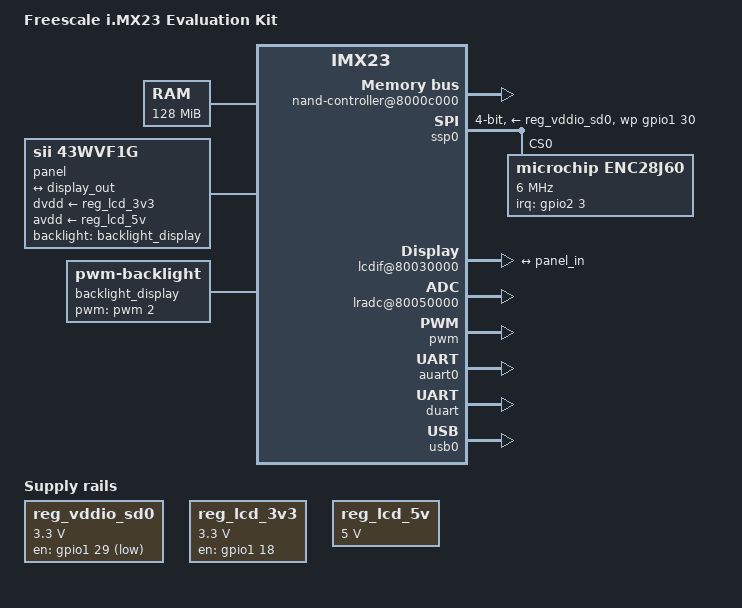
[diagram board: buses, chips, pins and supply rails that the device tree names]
// SPDX-License-Identifier: GPL-2.0+
//
// Copyright 2012 Freescale Semiconductor, Inc.

/dts-v1/;
#include <dt-bindings/interrupt-controller/irq.h>
#include "imx23.dtsi"

/ {
	model = "Freescale i.MX23 Evaluation Kit";
	compatible = "fsl,imx23-evk", "fsl,imx23";

	memory@40000000 {
		device_type = "memory";
		reg = <0x40000000 0x08000000>;
	};

	reg_vddio_sd0: regulator-vddio-sd0 {
		compatible = "regulator-fixed";
		regulator-name = "vddio-sd0";
		regulator-min-microvolt = <3300000>;
		regulator-max-microvolt = <3300000>;
		gpio = <&gpio1 29 0>;
	};

	reg_lcd_3v3: regulator-lcd-3v3 {
		compatible = "regulator-fixed";
		regulator-name = "lcd-3v3";
		regulator-min-microvolt = <3300000>;
		regulator-max-microvolt = <3300000>;
		gpio = <&gpio1 18 0>;
		enable-active-high;
	};

	reg_lcd_5v: regulator-lcd-5v {
		compatible = "regulator-fixed";
		regulator-name = "lcd-5v";
		regulator-min-microvolt = <5000000>;
		regulator-max-microvolt = <5000000>;
	};

	panel {
		compatible = "sii,43wvf1g";
		backlight = <&backlight_display>;
		dvdd-supply = <&reg_lcd_3v3>;
		avdd-supply = <&reg_lcd_5v>;

		port {
			panel_in: endpoint {
				remote-endpoint = <&display_out>;
			};
		};
	};

	apb@80000000 {
		apbh@80000000 {
			nand-controller@8000c000 {
				pinctrl-names = "default";
				pinctrl-0 = <&gpmi_pins_a &gpmi_pins_fixup>;
				status = "okay";
			};

			ssp0: spi@80010000 {
				compatible = "fsl,imx23-mmc";
				#address-cells = <1>;
				#size-cells = <0>;
				pinctrl-names = "default", "enc28j60";
				pinctrl-0 = <&mmc0_4bit_pins_a &mmc0_pins_fixup>;
				pinctrl-1 = <&enc28j60_spi_pins &enc28j60_irq_pins>;
				bus-width = <4>;
				wp-gpios = <&gpio1 30 0>;
				vmmc-supply = <&reg_vddio_sd0>;
				status = "okay";

				enc28j60: ethernet@0 {
					compatible = "microchip,enc28j60";
					reg = <0>;
					interrupt-parent = <&gpio2>;
					interrupts = <3 IRQ_TYPE_EDGE_FALLING>;
					spi-max-frequency = <6000000>;
					status = "okay";
				};
			};

			pinctrl@80018000 {
				pinctrl-names = "default";
				pinctrl-0 = <&hog_pins_a>;

				hog_pins_a: hog@0 {
					reg = <0>;
					fsl,pinmux-ids = <
						MX23_PAD_LCD_RESET__GPIO_1_18
						MX23_PAD_PWM3__GPIO_1_29
						MX23_PAD_PWM4__GPIO_1_30
					>;
					fsl,drive-strength = <MXS_DRIVE_4mA>;
					fsl,voltage = <MXS_VOLTAGE_HIGH>;
					fsl,pull-up = <MXS_PULL_DISABLE>;
				};

				enc28j60_spi_pins: enc28j60-spi@0 {
					reg = <0>;
					fsl,pinmux-ids = <
						MX23_PAD_SSP1_DATA0__SSP1_DATA0
						MX23_PAD_SSP1_DATA3__SSP1_DATA3
						MX23_PAD_SSP1_CMD__SSP1_CMD
						MX23_PAD_SSP1_SCK__SSP1_SCK
					>;
					fsl,drive-strength = <MXS_DRIVE_8mA>;
					fsl,voltage = <MXS_VOLTAGE_HIGH>;
					fsl,pull-up = <MXS_PULL_ENABLE>;
				};

				enc28j60_irq_pins: enc28j60-irq@0 {
					reg = <0>;
					fsl,pinmux-ids = <
						MX23_PAD_SSP1_DATA1__GPIO_2_3
						MX23_PAD_SSP1_DATA2__GPIO_2_4
					>;
					fsl,drive-strength = <MXS_DRIVE_4mA>;
					fsl,voltage = <MXS_VOLTAGE_HIGH>;
					fsl,pull-up = <MXS_PULL_ENABLE>;
				};
			};

			lcdif@80030000 {
				pinctrl-names = "default";
				pinctrl-0 = <&lcdif_24bit_pins_a>;
				status = "okay";

				port {
					display_out: endpoint {
						remote-endpoint = <&panel_in>;
					};
				};
			};
		};

		apbx@80040000 {
			lradc@80050000 {
				status = "okay";
				fsl,lradc-touchscreen-wires = <4>;
			};

			pwm: pwm@80064000 {
				pinctrl-names = "default";
				pinctrl-0 = <&pwm2_pins_a>;
				status = "okay";
			};

			auart0: serial@8006c000 {
				pinctrl-names = "default";
				pinctrl-0 = <&auart0_pins_a>;
				status = "okay";
			};

			duart: serial@80070000 {
				pinctrl-names = "default";
				pinctrl-0 = <&duart_pins_a>;
				status = "okay";
			};

			usbphy0: usbphy@8007c000 {
				status = "okay";
			};
		};
	};

	ahb@80080000 {
		usb0: usb@80080000 {
			status = "okay";
		};
	};

	backlight_display: backlight {
		compatible = "pwm-backlight";
		pwms = <&pwm 2 5000000>;
		brightness-levels = <0 4 8 16 32 64 128 255>;
		default-brightness-level = <6>;
	};
};
